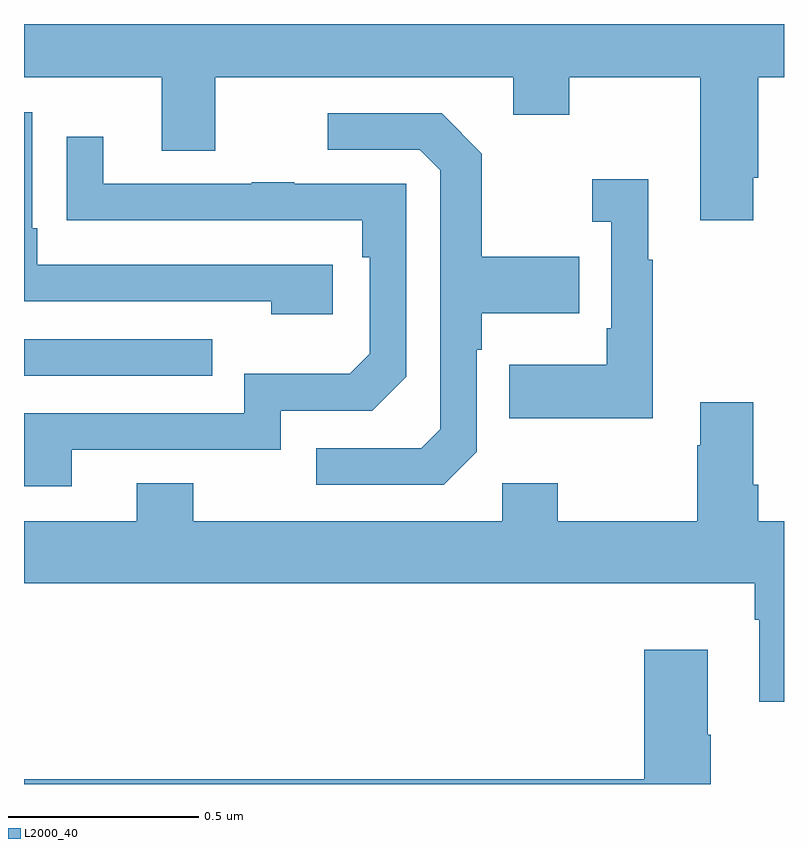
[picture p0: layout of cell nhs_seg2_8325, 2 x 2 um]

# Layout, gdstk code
import gdstk
lib = gdstk.Library(unit=1e-6, precision=1e-09)
def R(c, l, rs):  # rectangles x0, y0, x1, y1
    for r in rs: c.add(gdstk.rectangle(r[:2], r[2:], *l))
def P(c, l, *ps):  # polygons
    for p in ps: c.add(gdstk.Polygon(p, *l))
L2000_40 = (2000, 40)

nhs_seg2_8325 = lib.new_cell('nhs_seg2_8325')
R(nhs_seg2_8325, L2000_40, [(215,622.875,215.495,622.971)])
P(nhs_seg2_8325, L2000_40, [(216.919,623.395),(216.932,623.395),(216.932,623.66),(217,623.66),(217,623.8),(215,623.8),(215,623.66),(215.363,623.66),(215.363,623.466),(215.503,623.466),(215.503,623.66),(216.287,623.66),(216.287,623.561),(216.435,623.561),(216.435,623.66),(216.779,623.66),(216.779,623.283),(216.919,623.283)],
  [(215.812,623.166),(215.035,623.166),(215.035,623.263),(215.022,623.263),(215.022,623.568),(215,623.568),(215,623.07),(215.651,623.07),(215.651,623.036),(215.812,623.036)],
  [(216.192,622.674),(216.192,622.943),(216.205,622.943),(216.205,623.039),(216.461,623.039),(216.461,623.187),(216.205,623.187),(216.205,623.459),(216.099,623.565),(215.799,623.565),(215.799,623.469),(216.042,623.469),(216.096,623.415),(216.096,622.734),(216.045,622.683),(215.769,622.683),(215.769,622.587),(216.105,622.587)],
  [(215.125,622.68),(215.676,622.68),(215.676,622.782),(215.916,622.782),(216.006,622.872),(216.006,623.379),(215.711,623.379),(215.711,623.384),(215.599,623.384),(215.599,623.379),(215.209,623.379),(215.209,623.503),(215.113,623.503),(215.113,623.284),(215.215,623.284),(215.215,623.283),(215.89,623.283),(215.89,623.186),(215.91,623.186),(215.91,622.932),(215.857,622.879),(215.58,622.879),(215.58,622.776),(215,622.776),(215,622.584),(215.125,622.584)],
  [(216.655,623.179),(216.643,623.179),(216.643,623.392),(216.495,623.392),(216.495,623.279),(216.546,623.279),(216.546,622.999),(216.534,622.999),(216.534,622.903),(216.277,622.903),(216.277,622.763),(216.655,622.763)],
  [(217,622.492),(216.932,622.492),(216.932,622.588),(216.919,622.588),(216.919,622.804),(216.779,622.804),(216.779,622.691),(216.772,622.691),(216.772,622.492),(216.405,622.492),(216.405,622.591),(216.258,622.591),(216.258,622.492),(215.445,622.492),(215.445,622.591),(215.297,622.591),(215.297,622.492),(215,622.492),(215,622.328),(216.923,622.328),(216.923,622.232),(216.935,622.232),(216.935,622.017),(217,622.017)],
  [(216.807,621.929),(216.799,621.929),(216.799,622.153),(216.632,622.153),(216.632,621.812),(215,621.812),(215,621.8),(216.807,621.8)])

lib.write_gds('nhs_seg2_8325.gds')
